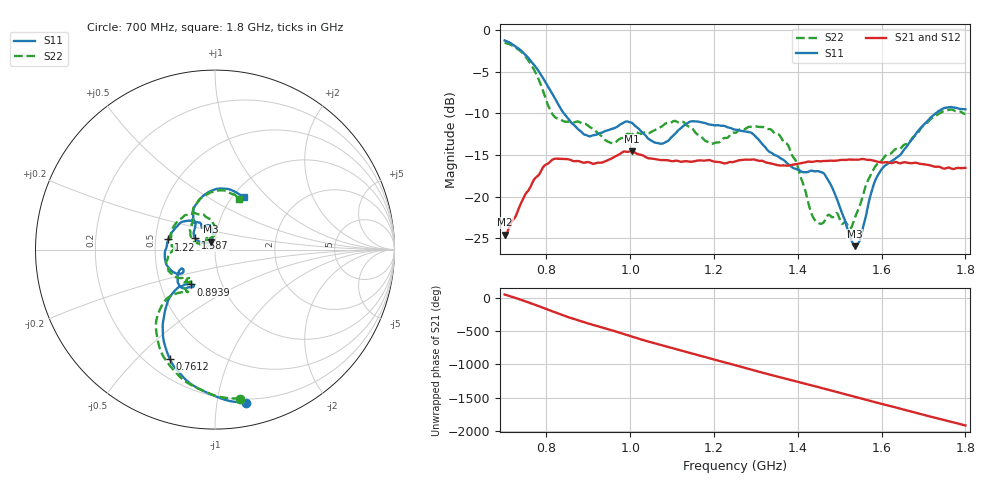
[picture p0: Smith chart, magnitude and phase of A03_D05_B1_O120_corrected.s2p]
! Created with skrf 1.9.0 (http://scikit-rf.org).
# Hz S RI R 50.0
!freq ReS11 ImS11 ReS21 ImS21 ReS12 ImS12 ReS22 ImS22
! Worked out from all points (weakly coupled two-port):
!   1601 points, 700 MHz to 1.8 GHz, reference 50 ohm
!   highest |S21| = -14.53 dB at 1.003 GHz (marker M1); lowest = -24.6 dB at 701.4 MHz (marker M2)
!   lowest |S11| = -26.0 dB at 1.536 GHz (marker M3), VSWR 1.11, Z = 47.6 + j4.26 ohm
!   |S11| at or under -10 dB: 841.5 MHz to 1.728 GHz (886.9 MHz wide, 69 % of centre)
!   |S22| runs from -23.9 to -1.5 dB; largest |S21 - S12| = 0.0035
!   S11 on the Smith chart (normalised r, x): 700 MHz: 0.17, -1.21; 761.2 MHz: 0.29, -0.63; 893.9 MHz: 0.72, -0.29; 1.22 GHz: 0.58, +0.07; 1.587 GHz: 0.79, +0.10; 1.8 GHz: 1.12, +0.74
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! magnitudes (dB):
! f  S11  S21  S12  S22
! 700 MHz  -1.2  -24.6  -24.4  -1.5
! 701.4 MHz  -1.2  -24.6  -24.2  -1.5
! 761.2 MHz  -3.6  -18.9  -18.8  -3.9
! 817.6 MHz  -7.9  -15.5  -15.6  -10.3
! 883.6 MHz  -12.2  -15.9  -15.8  -11.2
! 893.9 MHz  -12.6  -15.9  -16.0  -11.3
! 955.1 MHz  -11.9  -15.4  -15.4  -13.6
! 1.003 GHz  -11.1  -14.5  -14.7  -12.5
! 1.067 GHz  -13.6  -15.6  -15.5  -11.8
! 1.144 GHz  -11.0  -15.8  -15.8  -11.6
! 1.22 GHz  -11.5  -16.0  -16.0  -13.1
! 1.25 GHz  -11.9  -15.8  -15.7  -12.3
! 1.357 GHz  -15.3  -16.3  -16.2  -12.6
! 1.396 GHz  -16.7  -16.1  -16.1  -15.8
! 1.434 GHz  -16.9  -15.8  -15.8  -22.2
! 1.474 GHz  -18.2  -15.7  -15.7  -22.2
! 1.536 GHz  -26.0  -15.6  -15.6  -22.6
! 1.549 GHz  -25.1  -15.5  -15.5  -20.9
! 1.587 GHz  -17.8  -15.8  -15.8  -16.2
! 1.617 GHz  -16.0  -15.9  -15.9  -14.9
! 1.734 GHz  -9.8  -16.4  -16.5  -10.1
! 1.8 GHz  -9.5  -16.5  -16.5  -10.1
